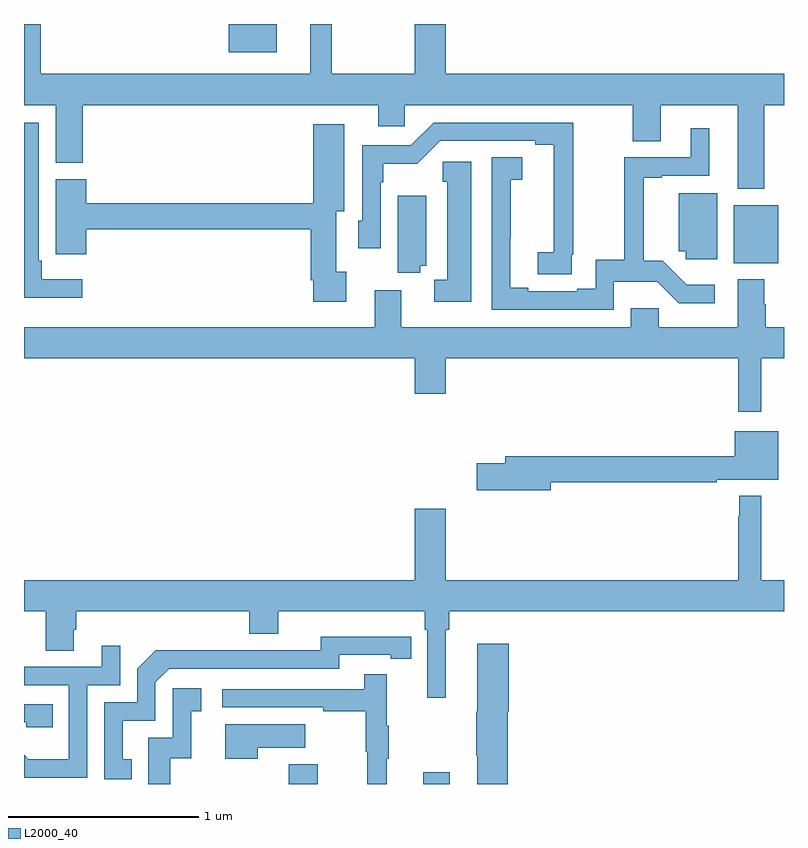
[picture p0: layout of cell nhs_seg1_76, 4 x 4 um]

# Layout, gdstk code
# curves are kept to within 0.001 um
import gdstk
lib = gdstk.Library(unit=1e-6, precision=1e-09)
def R(c, l, rs):  # rectangles x0, y0, x1, y1
    for r in rs: c.add(gdstk.rectangle(r[:2], r[2:], *l))
def P(c, l, *ps):  # polygons
    for p in ps: c.add(gdstk.Polygon(p, *l))
L2000_40 = (2000, 40)

nhs_seg1_76 = lib.new_cell('nhs_seg1_76')
R(nhs_seg1_76, L2000_40, [(116.393,508.199,116.545,508.303), (117.101,508.199,117.241,508.261), (118.736,510.941,118.969,511.246), (116.078,512.051,116.329,512.199)])
P(nhs_seg1_76, L2000_40, [(118.897,511.772),(119,511.772),(119,511.936),(117.22,511.936),(117.22,512.199),(117.056,512.199),(117.056,511.936),(116.621,511.936),(116.621,512.199),(116.507,512.199),(116.507,511.936),(115.088,511.936),(115.088,512.199),(115,512.199),(115,511.772),(115.166,511.772),(115.166,511.468),(115.31,511.468),(115.31,511.772),(116.864,511.772),(116.864,511.662),(117.003,511.662),(117.003,511.772),(118.204,511.772),(118.204,511.582),(118.351,511.582),(118.351,511.772),(118.757,511.772),(118.757,511.331),(118.897,511.331)],
  [(117.884,510.985),(117.89,510.985),(117.89,511.68),(117.156,511.68),(117.036,511.56),(116.781,511.56),(116.781,511.164),(116.76,511.164),(116.76,511.02),(116.877,511.02),(116.877,511.367),(116.89,511.367),(116.89,511.463),(117.071,511.463),(117.192,511.584),(117.692,511.584),(117.692,511.564),(117.788,511.564),(117.787,510.998),(117.705,510.998),(117.705,510.883),(117.884,510.883)],
  [(115.306,510.856),(115.093,510.856),(115.093,510.952),(115.077,510.952),(115.077,511.678),(115,511.678),(115,510.758),(115.306,510.758)],
  [(116.695,510.894),(116.644,510.894),(116.644,511.214),(116.686,511.214),(116.686,511.672),(116.522,511.672),(116.522,511.256),(115.328,511.256),(115.328,511.383),(115.166,511.383),(115.166,511.099),(115.167,511.099),(115.167,510.987),(115.328,510.987),(115.328,511.12),(116.51,511.12),(116.51,510.85),(116.522,510.85),(116.522,510.738),(116.695,510.738)],
  [(118.104,510.842),(118.333,510.842),(118.446,510.729),(118.636,510.729),(118.636,510.826),(118.487,510.826),(118.361,510.952),(118.262,510.952),(118.262,511.389),(118.357,511.389),(118.357,511.401),(118.606,511.401),(118.606,511.651),(118.508,511.651),(118.508,511.497),(118.159,511.497),(118.159,510.959),(118.008,510.959),(118.008,510.806),(117.911,510.806),(117.911,510.792),(117.655,510.792),(117.655,510.812),(117.559,510.812),(117.559,511.075),(117.561,511.075),(117.561,511.379),(117.622,511.379),(117.622,511.499),(117.462,511.499),(117.462,510.696),(118.104,510.696)],
  [(117.355,511.474),(117.205,511.474),(117.205,511.368),(117.227,511.368),(117.227,510.852),(117.159,510.852),(117.159,510.737),(117.355,510.737)],
  [(118.648,511.309),(118.445,511.309),(118.445,511.004),(118.482,511.004),(118.482,510.962),(118.648,510.962)],
  [(117.086,510.926),(117.118,510.926),(117.118,511.294),(116.966,511.294),(116.966,510.889),(117.086,510.889)],
  [(118.879,510.44),(119,510.44),(119,510.604),(118.905,510.604),(118.905,510.725),(118.897,510.725),(118.897,510.856),(118.757,510.856),(118.757,510.604),(118.34,510.604),(118.34,510.702),(118.193,510.702),(118.193,510.604),(116.986,510.604),(116.986,510.799),(116.846,510.799),(116.846,510.604),(115,510.604),(115,510.44),(117.056,510.44),(117.056,510.252),(117.22,510.252),(117.22,510.44),(118.758,510.44),(118.758,510.159),(118.879,510.159)],
  [(117.772,509.788),(118.646,509.788),(118.646,509.801),(118.969,509.801),(118.969,510.055),(118.742,510.055),(118.742,509.924),(117.533,509.924),(117.533,509.888),(117.384,509.888),(117.384,509.746),(117.772,509.746)],
  [(117.22,509.012),(117.239,509.012),(117.239,509.108),(119,509.108),(119,509.272),(118.879,509.272),(118.879,509.716),(118.764,509.716),(118.764,509.609),(118.758,509.609),(118.758,509.272),(117.22,509.272),(117.22,509.647),(117.056,509.647),(117.056,509.272),(115,509.272),(115,509.108),(115.114,509.108),(115.114,508.9),(115.261,508.9),(115.261,509.01),(115.274,509.01),(115.274,509.108),(116.186,509.108),(116.186,508.991),(116.338,508.991),(116.338,509.108),(117.11,509.108),(117.11,509.012),(117.123,509.012),(117.123,508.653),(117.22,508.653)],
  [(115.568,508.329),(115.519,508.329),(115.519,508.533),(115.692,508.533),(115.692,508.734),(115.764,508.806),(116.658,508.806),(116.658,508.878),(116.93,508.878),(116.93,508.858),(117.038,508.858),(117.038,508.974),(116.562,508.975),(116.562,508.902),(116.102,508.902),(116.102,508.904),(115.694,508.904),(115.596,508.806),(115.596,508.629),(115.422,508.629),(115.422,508.224),(115.568,508.224)],
  [(117.545,508.578),(117.55,508.578),(117.55,508.936),(117.386,508.936),(117.386,508.578),(117.379,508.578),(117.379,508.348),(117.386,508.348),(117.386,508.199),(117.545,508.199)],
  [(115.332,508.719),(115.506,508.719),(115.506,508.927),(115.409,508.927),(115.409,508.815),(115,508.815),(115,508.719),(115.236,508.719),(115.236,508.33),(115.022,508.33),(115,508.352),(115,508.233),(115.332,508.233)],
  [(116.909,508.331),(116.92,508.331),(116.92,508.505),(116.909,508.505),(116.909,508.777),(116.791,508.777),(116.791,508.698),(116.043,508.698),(116.043,508.602),(116.575,508.602),(116.575,508.582),(116.799,508.582),(116.799,508.368),(116.806,508.368),(116.806,508.199),(116.909,508.199)],
  [(115.769,508.335),(115.88,508.335),(115.88,508.581),(115.933,508.581),(115.933,508.702),(115.782,508.702),(115.782,508.443),(115.653,508.443),(115.653,508.199),(115.769,508.199)],
  [(115.151,508.62),(115,508.62),(115,508.524),(115.011,508.524),(115.011,508.497),(115.151,508.497)],
  [(116.231,508.391),(116.479,508.391),(116.479,508.513),(116.06,508.513),(116.06,508.332),(116.231,508.332)])

lib.write_gds('nhs_seg1_76.gds')
